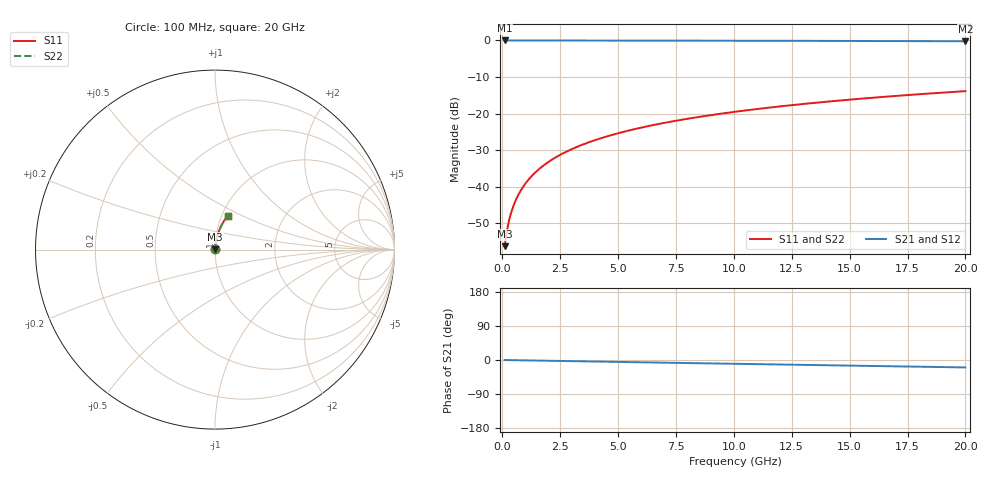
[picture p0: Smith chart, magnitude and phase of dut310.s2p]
! Touchstone file exported from HFSS 2026.1.0
!  File:  C:/ffzhzh/LocalFiles/Ansys_Project_Files/temp_train_BSMRDL_310_1783010632_4048.aedt
!  Generated:  12:45:11 AM Jul  3, 2026
!  Design:  BSMRDL
!  Project:  temp_train_BSMRDL_310_1783010632_4048
! Variables:
!  h_bsmrdl = 4.42um
!  h_ox = 20um
!  h_rdl = 5um
!  h_sub = 80um
!  h_tmrdl = 5um
!  h_tsv = 80um
!  h_via = 3um
!  l_bsmrdl = 240.94um
!  l_sub = 640.94um
!  l_tmrdl = 200um
!  m_sub = 200um
!  pitch = 54.89um
!  r_tsv = 6um
!  s_tmrdl = 10um
!  w_bsmrdl = 23.71um
!  w_sub = 500um
!  w_tmrdl = 12um
!  x_tsv_center1 = 206um
!  x_tsv_center2 = 470.65um
!  x_tsv_center3 = 682.65um
!  x_tsv_center4 = 947.3um
!  x_tsv_center5 = 1159.3um
!  x_tsv_center6 = 1423.95um
# GHz S MA R 50.000000
! Terminal data exported
! Port[1] = BSM_RDL1_1_T1
! Port[2] = BSM_RDL1_1_T2
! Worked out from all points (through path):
!   200 points, 100 MHz to 20 GHz, reference 50 ohm
!   highest |S21| = -0.01 dB at 100 MHz (marker M1); lowest = -0.2 dB at 20 GHz (marker M2)
!   group delay of S21, straight-line fit = 2.72 ps
!   lowest |S11| = -56.2 dB at 100 MHz (marker M3), VSWR 1.00, Z = 50.1 + j0.118 ohm
!   |S11| at or under -10 dB: start of sweep to end of sweep
!   |S22| runs from -56.2 to -13.9 dB; largest |S21 - S12| = 2.2e-15
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0.1  0.00154 49.6  0.999 -0.1  0.999 -0.1  0.00154 49.6
! Gamma 0 0 0 0
! Port Impedance 50 0 50 0
0.2  0.002525 65.1  0.9989 -0.2  0.9989 -0.2  0.002525 65.1
0.3  0.003557 71.7  0.9989 -0.3  0.9989 -0.3  0.003557 71.7
0.4  0.004607 75.5  0.9988 -0.4  0.9988 -0.4  0.004608 75.4
0.5  0.00567 77.8  0.9988 -0.5  0.9988 -0.5  0.00567 77.8
0.7  0.007818 80.6  0.9988 -0.7  0.9988 -0.7  0.007818 80.6
0.8  0.008898 81.5  0.9987 -0.8  0.9987 -0.8  0.008898 81.5
1  0.01106 82.6  0.9987 -1.0  0.9987 -1.0  0.01106 82.6
1.2  0.01323 83.3  0.9986 -1.2  0.9986 -1.2  0.01323 83.3
1.4  0.0154 83.8  0.9986 -1.4  0.9986 -1.4  0.0154 83.8
1.7  0.01866 84.1  0.9984 -1.7  0.9984 -1.7  0.01866 84.1
2  0.0219 84.2  0.9983 -2.0  0.9983 -2.0  0.0219 84.2
2.7  0.02944 84.1  0.9979 -2.7  0.9979 -2.7  0.02944 84.1
3.5  0.03799 83.7  0.9974 -3.6  0.9974 -3.6  0.03799 83.7
4.2  0.04542 83.1  0.9969 -4.3  0.9969 -4.3  0.04542 83.1
5  0.05384 82.5  0.9963 -5.1  0.9963 -5.1  0.05384 82.5
6.8  0.07259 81.0  0.9946 -6.8  0.9946 -6.8  0.07259 81.0
8.3  0.08803 79.6  0.993 -8.3  0.993 -8.3  0.08803 79.6
10.1  0.1063 78.0  0.9908 -10.1  0.9908 -10.1  0.1063 78.0
13.4  0.1393 75.0  0.9862 -13.3  0.9862 -13.3  0.1393 75.0
16.7  0.1715 72.0  0.9807 -16.5  0.9807 -16.5  0.1715 72.0
20  0.2026 69.0  0.9744 -19.6  0.9744 -19.6  0.2026 69.0
